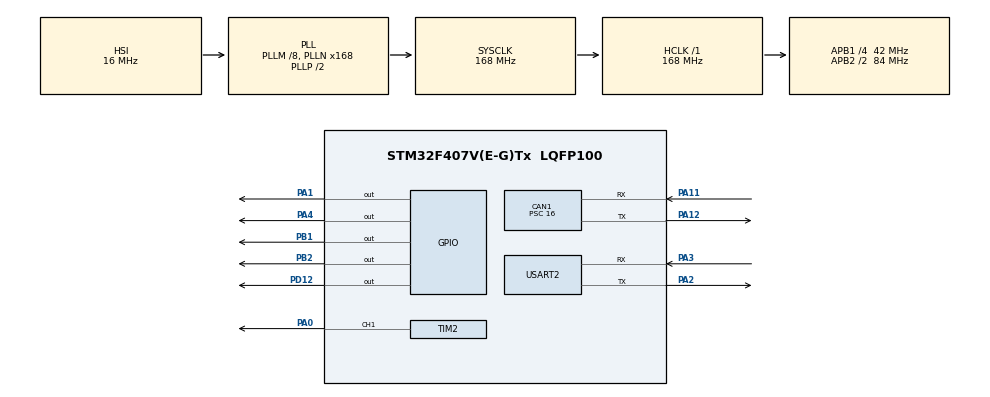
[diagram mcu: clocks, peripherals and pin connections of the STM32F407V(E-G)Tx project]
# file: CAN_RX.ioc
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CAN1.BS1=CAN_BS1_6TQ
CAN1.CalculateBaudRate=328125
CAN1.CalculateTimeBit=3047
CAN1.CalculateTimeQuantum=380.95238095238096
CAN1.Prescaler=16
Mcu.Family=STM32F4
Mcu.Name=STM32F407V(E-G)Tx
Mcu.Package=LQFP100
NVIC.CAN1_RX0_IRQn=true\:0\:0\:false\:false\:true\:true\:true\:true
NVIC.PriorityGroup=NVIC_PRIORITYGROUP_0
PA0-WKUP.Signal=S_TIM2_CH1_ETR
PA1.Signal=GPIO_Output
PA11.Mode=CAN_Activate
PA11.Signal=CAN1_RX
PA12.Mode=CAN_Activate
PA12.Signal=CAN1_TX
PA2.Mode=Asynchronous
PA2.Signal=USART2_TX
PA3.Mode=Asynchronous
PA3.Signal=USART2_RX
PA4.Signal=GPIO_Output
PB1.Signal=GPIO_Output
PB2.Signal=GPIO_Output
PD12.Signal=GPIO_Output
ProjectManager.HeapSize=0x200
ProjectManager.StackSize=0x400
ProjectManager.TargetToolchain=STM32CubeIDE
RCC.48MHZClocksFreq_Value=48000000
RCC.AHBFreq_Value=168000000
RCC.APB1CLKDivider=RCC_HCLK_DIV4
RCC.APB1Freq_Value=42000000
RCC.APB1TimFreq_Value=84000000
RCC.APB2CLKDivider=RCC_HCLK_DIV2
RCC.APB2Freq_Value=84000000
RCC.APB2TimFreq_Value=168000000
RCC.CortexFreq_Value=168000000
RCC.HCLKFreq_Value=168000000
RCC.HSE_VALUE=8000000
RCC.HSI_VALUE=16000000
RCC.LSE_VALUE=32768
RCC.PLLM=8
RCC.PLLN=168
RCC.PLLQ=7
RCC.SYSCLKFreq_VALUE=168000000
RCC.SYSCLKSource=RCC_SYSCLKSOURCE_PLLCLK
RCC.VCOOutputFreq_Value=336000000
SH.S_TIM2_CH1_ETR.0=TIM2_CH1,PWM Generation1 CH1
TIM2.Channel-PWM\ Generation1\ CH1=TIM_CHANNEL_1
TIM2.Period=19999
TIM2.Prescaler=7
USART2.VirtualMode=VM_ASYNC
board=STM32F407G-DISC1

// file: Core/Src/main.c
/* USER CODE BEGIN Header */
/**
  ******************************************************************************
  * @file           : main.c
  * @brief          : Main program body
  ******************************************************************************
  * @attention
  *
  * Copyright (c) 2026 STMicroelectronics.
  * All rights reserved.
  *
  * This software is licensed under terms that can be found in the LICENSE file
  * in the root directory of this software component.
  * If no LICENSE file comes with this software, it is provided AS-IS.
  *
  ******************************************************************************
  */
/* USER CODE END Header */
#include "main.h"

CAN_HandleTypeDef hcan1;

TIM_HandleTypeDef htim2;

UART_HandleTypeDef huart2;

/* USER CODE BEGIN PV */
CAN_FilterTypeDef Filtercan1;
CAN_RxHeaderTypeDef pRxHeader;
uint8_t aRxData[8];
char message[128];
float current_angle = 90.0f;
float target_angle = 90.0f;

uint32_t last_servo_update = 0;
uint32_t last_uart_debug = 0;
uint32_t last_led_toggle = 0;

uint8_t risk_level = 0;
uint8_t target_servo_angle = 90;

uint16_t rx_adc = 0;
uint16_t rx_distance = 0;

uint32_t timestamp_ms = 0;
/* USER CODE END PV */

void SystemClock_Config(void);
static void MX_GPIO_Init(void);
static void MX_CAN1_Init(void);
static void MX_TIM2_Init(void);
static void MX_USART2_UART_Init(void);

/* USER CODE BEGIN 0 */
void Servo_SetAngle(float angle)
{
    if (angle < 10.0f)
        angle = 10.0f;

    if (angle > 170.0f)
        angle = 170.0f;

    angle = 180.0f - angle;

    uint32_t pulse = 1000 + (uint32_t)((angle / 180.0f) * 1000.0f);

    __HAL_TIM_SET_COMPARE(&htim2, TIM_CHANNEL_1, pulse);
}
void Servo_UpdateProgressive(float *current_angle, float target_angle)
{
    const float MAX_STEP = 1.5f;

    float diff = target_angle - *current_angle;

    if (diff > MAX_STEP)
        *current_angle += MAX_STEP;
    else if (diff < -MAX_STEP)
        *current_angle -= MAX_STEP;
    else
        *current_angle = target_angle;

    Servo_SetAngle(*current_angle);
}
/* USER CODE END 0 */

int main(void)
{

  /* MCU Configuration--------------------------------------------------------*/

  /* Reset of all peripherals, Initializes the Flash interface and the Systick. */
  HAL_Init();

  /* Configure the system clock */
  SystemClock_Config();

  /* Initialize all configured peripherals */
  MX_GPIO_Init();
  MX_CAN1_Init();
  MX_TIM2_Init();
  MX_USART2_UART_Init();
  /* USER CODE BEGIN 2 */
  /* Configuration du filtre CAN */
  Filtercan1.FilterBank = 0;
  Filtercan1.FilterMode = CAN_FILTERMODE_IDMASK;
  Filtercan1.FilterScale = CAN_FILTERSCALE_32BIT;
  Filtercan1.FilterIdHigh = 0x0000;
  Filtercan1.FilterIdLow = 0x0000;
  Filtercan1.FilterMaskIdHigh = 0x0000;
  Filtercan1.FilterMaskIdLow = 0x0000;
  Filtercan1.FilterFIFOAssignment = CAN_FILTER_FIFO0;
  Filtercan1.FilterActivation = ENABLE;
  Filtercan1.SlaveStartFilterBank = 14;

  if (HAL_CAN_ConfigFilter(&hcan1, &Filtercan1) != HAL_OK)
  {
      Error_Handler();
  }

  if (HAL_CAN_Start(&hcan1) != HAL_OK)
  {
      Error_Handler();
  }

  if (HAL_CAN_ActivateNotification(&hcan1,
                                   CAN_IT_RX_FIFO0_MSG_PENDING) != HAL_OK)
  {
      Error_Handler();
  }
  /* Démarrage du PWM du servo */
  if (HAL_TIM_PWM_Start(&htim2, TIM_CHANNEL_1) != HAL_OK)
  {
      Error_Handler();
  }

  Servo_SetAngle(90.0f);
  /* USER CODE END 2 */

  /* Infinite loop */
  /* USER CODE BEGIN WHILE */
  while (1)
  {
	  /* Mise à jour du servo toutes les 10 ms */
	  if (HAL_GetTick() - last_servo_update >= 10)
	  {
	      last_servo_update = HAL_GetTick();

	      Servo_UpdateProgressive(&current_angle, target_angle);
	  }
	  if (risk_level == 2)
	  {
	      /* Risque élevé : LED verte éteinte */
	      HAL_GPIO_WritePin(GPIOB, GPIO_PIN_1, GPIO_PIN_RESET);

	      /* LED rouge clignotante toutes les 200 ms */
	      if (HAL_GetTick() - last_led_toggle >= 200)
	      {
	          last_led_toggle = HAL_GetTick();
	          HAL_GPIO_TogglePin(GPIOB, GPIO_PIN_2);
	      }
	  }
	  else
	  {
	      /* Situation normale : vert allumé, rouge éteinte */
	      HAL_GPIO_WritePin(GPIOB, GPIO_PIN_1, GPIO_PIN_SET);
	      HAL_GPIO_WritePin(GPIOB, GPIO_PIN_2, GPIO_PIN_RESET);
	  }
	  /* Debug UART toutes les 500 ms */
	  if (HAL_GetTick() - last_uart_debug >= 500)
	  {
	      last_uart_debug = HAL_GetTick();

	      snprintf(message, sizeof(message),
	               "CAN | Risk: %d | Angle: %d | ADC: %d | Distance: %d\r\n",
	               risk_level,
	               target_servo_angle,
	               rx_adc,
	               rx_distance);

	      HAL_UART_Transmit(&huart2,
	                        (uint8_t *)message,
	                        strlen(message),
	                        HAL_MAX_DELAY);
	  }
    /* USER CODE END WHILE */

  }
}

void SystemClock_Config(void)
{
  RCC_OscInitTypeDef RCC_OscInitStruct = {0};
  RCC_ClkInitTypeDef RCC_ClkInitStruct = {0};

  /** Configure the main internal regulator output voltage
  */
  __HAL_RCC_PWR_CLK_ENABLE();
  __HAL_PWR_VOLTAGESCALING_CONFIG(PWR_REGULATOR_VOLTAGE_SCALE1);

  /** Initializes the RCC Oscillators according to the specified parameters
  * in the RCC_OscInitTypeDef structure.
  */
  RCC_OscInitStruct.OscillatorType = RCC_OSCILLATORTYPE_HSI;
  RCC_OscInitStruct.HSIState = RCC_HSI_ON;
  RCC_OscInitStruct.HSICalibrationValue = RCC_HSICALIBRATION_DEFAULT;
  RCC_OscInitStruct.PLL.PLLState = RCC_PLL_ON;
  RCC_OscInitStruct.PLL.PLLSource = RCC_PLLSOURCE_HSI;
  RCC_OscInitStruct.PLL.PLLM = 8;
  RCC_OscInitStruct.PLL.PLLN = 168;
  RCC_OscInitStruct.PLL.PLLP = RCC_PLLP_DIV2;
  RCC_OscInitStruct.PLL.PLLQ = 7;
  if (HAL_RCC_OscConfig(&RCC_OscInitStruct) != HAL_OK)
  {
    Error_Handler();
  }

  /** Initializes the CPU, AHB and APB buses clocks
  */
  RCC_ClkInitStruct.ClockType = RCC_CLOCKTYPE_HCLK|RCC_CLOCKTYPE_SYSCLK
                              |RCC_CLOCKTYPE_PCLK1|RCC_CLOCKTYPE_PCLK2;
  RCC_ClkInitStruct.SYSCLKSource = RCC_SYSCLKSOURCE_PLLCLK;
  RCC_ClkInitStruct.AHBCLKDivider = RCC_SYSCLK_DIV1;
  RCC_ClkInitStruct.APB1CLKDivider = RCC_HCLK_DIV4;
  RCC_ClkInitStruct.APB2CLKDivider = RCC_HCLK_DIV2;

  if (HAL_RCC_ClockConfig(&RCC_ClkInitStruct, FLASH_LATENCY_5) != HAL_OK)
  {
    Error_Handler();
  }
}

static void MX_CAN1_Init(void)
{

  hcan1.Instance = CAN1;
  hcan1.Init.Prescaler = 16;
  hcan1.Init.Mode = CAN_MODE_NORMAL;
  hcan1.Init.SyncJumpWidth = CAN_SJW_1TQ;
  hcan1.Init.TimeSeg1 = CAN_BS1_6TQ;
  hcan1.Init.TimeSeg2 = CAN_BS2_1TQ;
  hcan1.Init.TimeTriggeredMode = DISABLE;
  hcan1.Init.AutoBusOff = DISABLE;
  hcan1.Init.AutoWakeUp = DISABLE;
  hcan1.Init.AutoRetransmission = DISABLE;
  hcan1.Init.ReceiveFifoLocked = DISABLE;
  hcan1.Init.TransmitFifoPriority = DISABLE;
  if (HAL_CAN_Init(&hcan1) != HAL_OK)
  {
    Error_Handler();
  }

}

static void MX_TIM2_Init(void)
{

  TIM_MasterConfigTypeDef sMasterConfig = {0};
  TIM_OC_InitTypeDef sConfigOC = {0};

  htim2.Instance = TIM2;
  htim2.Init.Prescaler = 7;
  htim2.Init.CounterMode = TIM_COUNTERMODE_UP;
  htim2.Init.Period = 19999;
  htim2.Init.ClockDivision = TIM_CLOCKDIVISION_DIV1;
  htim2.Init.AutoReloadPreload = TIM_AUTORELOAD_PRELOAD_DISABLE;
  if (HAL_TIM_PWM_Init(&htim2) != HAL_OK)
  {
    Error_Handler();
  }
  sMasterConfig.MasterOutputTrigger = TIM_TRGO_RESET;
  sMasterConfig.MasterSlaveMode = TIM_MASTERSLAVEMODE_DISABLE;
  if (HAL_TIMEx_MasterConfigSynchronization(&htim2, &sMasterConfig) != HAL_OK)
  {
    Error_Handler();
  }
  sConfigOC.OCMode = TIM_OCMODE_PWM1;
  sConfigOC.Pulse = 0;
  sConfigOC.OCPolarity = TIM_OCPOLARITY_HIGH;
  sConfigOC.OCFastMode = TIM_OCFAST_DISABLE;
  if (HAL_TIM_PWM_ConfigChannel(&htim2, &sConfigOC, TIM_CHANNEL_1) != HAL_OK)
  {
    Error_Handler();
  }
  HAL_TIM_MspPostInit(&htim2);

}

static void MX_USART2_UART_Init(void)
{

  huart2.Instance = USART2;
  huart2.Init.BaudRate = 115200;
  huart2.Init.WordLength = UART_WORDLENGTH_8B;
  huart2.Init.StopBits = UART_STOPBITS_1;
  huart2.Init.Parity = UART_PARITY_NONE;
  huart2.Init.Mode = UART_MODE_TX_RX;
  huart2.Init.HwFlowCtl = UART_HWCONTROL_NONE;
  huart2.Init.OverSampling = UART_OVERSAMPLING_16;
  if (HAL_UART_Init(&huart2) != HAL_OK)
  {
    Error_Handler();
  }

}

static void MX_GPIO_Init(void)
{
  GPIO_InitTypeDef GPIO_InitStruct = {0};

  /* GPIO Ports Clock Enable */
  __HAL_RCC_GPIOA_CLK_ENABLE();
  __HAL_RCC_GPIOB_CLK_ENABLE();
  __HAL_RCC_GPIOD_CLK_ENABLE();

  /*Configure GPIO pin Output Level */
  HAL_GPIO_WritePin(GPIOA, GPIO_PIN_1|GPIO_PIN_4, GPIO_PIN_RESET);

  /*Configure GPIO pin Output Level */
  HAL_GPIO_WritePin(GPIOB, GPIO_PIN_1|GPIO_PIN_2, GPIO_PIN_RESET);

  /*Configure GPIO pin Output Level */
  HAL_GPIO_WritePin(GPIOD, GPIO_PIN_12, GPIO_PIN_RESET);

  /*Configure GPIO pins : PA1 PA4 */
  GPIO_InitStruct.Pin = GPIO_PIN_1|GPIO_PIN_4;
  GPIO_InitStruct.Mode = GPIO_MODE_OUTPUT_PP;
  GPIO_InitStruct.Pull = GPIO_NOPULL;
  GPIO_InitStruct.Speed = GPIO_SPEED_FREQ_LOW;
  HAL_GPIO_Init(GPIOA, &GPIO_InitStruct);

  /*Configure GPIO pins : PB1 PB2 */
  GPIO_InitStruct.Pin = GPIO_PIN_1|GPIO_PIN_2;
  GPIO_InitStruct.Mode = GPIO_MODE_OUTPUT_PP;
  GPIO_InitStruct.Pull = GPIO_NOPULL;
  GPIO_InitStruct.Speed = GPIO_SPEED_FREQ_LOW;
  HAL_GPIO_Init(GPIOB, &GPIO_InitStruct);

  /*Configure GPIO pin : PD12 */
  GPIO_InitStruct.Pin = GPIO_PIN_12;
  GPIO_InitStruct.Mode = GPIO_MODE_OUTPUT_PP;
  GPIO_InitStruct.Pull = GPIO_NOPULL;
  GPIO_InitStruct.Speed = GPIO_SPEED_FREQ_LOW;
  HAL_GPIO_Init(GPIOD, &GPIO_InitStruct);

}

/* USER CODE BEGIN 4 */
void HAL_CAN_RxFifo0MsgPendingCallback(CAN_HandleTypeDef *hcan)
{
    if (HAL_CAN_GetRxMessage(hcan,
                             CAN_RX_FIFO0,
                             &pRxHeader,
                             aRxData) != HAL_OK)
    {
        Error_Handler();
    }

    /* Indication visuelle : activité CAN */
    HAL_GPIO_TogglePin(GPIOD, GPIO_PIN_12);

    if (pRxHeader.StdId == 0x001)
    {
        /* Timestamp : octets 0 à 3 */
        timestamp_ms = ((uint32_t)aRxData[0] << 24) |
                       ((uint32_t)aRxData[1] << 16) |
                       ((uint32_t)aRxData[2] << 8)  |
                       ((uint32_t)aRxData[3]);

        /* ADC : octets 4 et 5 */
        rx_adc = ((uint16_t)aRxData[4] << 8) |
                 ((uint16_t)aRxData[5]);

        /* Distance : octets 6 et 7 */
        rx_distance = ((uint16_t)aRxData[6] << 8) |
                      ((uint16_t)aRxData[7]);
    }
    else if (pRxHeader.StdId == 0x100)
    {
        /* Données provenant du calculateur IA */
        risk_level = aRxData[0];
        target_servo_angle = aRxData[1];

        target_angle = (float)target_servo_angle;
    }
}
/* USER CODE END 4 */

void Error_Handler(void)
{
  __disable_irq();
  while (1)
  {
  }
}
